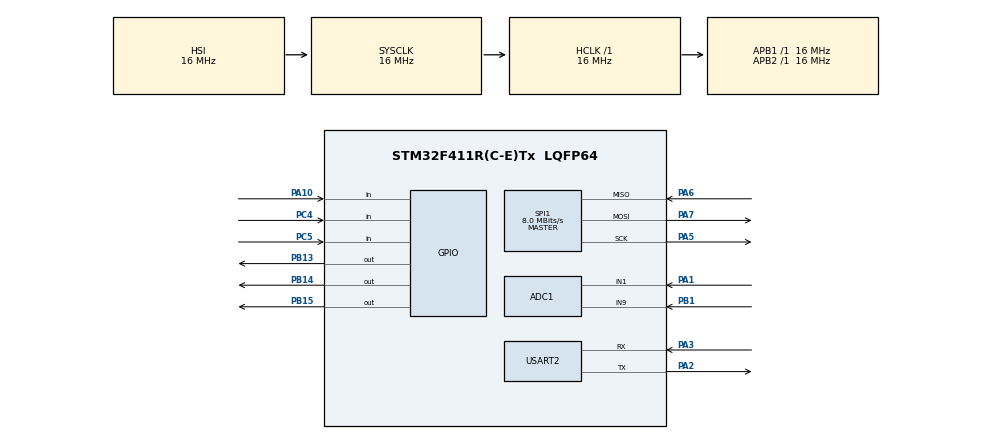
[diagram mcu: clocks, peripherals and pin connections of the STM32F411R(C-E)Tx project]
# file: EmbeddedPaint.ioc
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ADC1.Channel-0\#ChannelRegularConversion=ADC_CHANNEL_9
ADC1.NbrOfConversionFlag=1
ADC1.Rank-0\#ChannelRegularConversion=1
ADC1.SamplingTime-0\#ChannelRegularConversion=ADC_SAMPLETIME_3CYCLES
ADC1.master=1
Mcu.Family=STM32F4
Mcu.Name=STM32F411R(C-E)Tx
Mcu.Package=LQFP64
NVIC.PriorityGroup=NVIC_PRIORITYGROUP_4
PA1.Signal=ADCx_IN1
PA10.GPIO_PuPd=GPIO_PULLUP
PA10.Signal=GPIO_Input
PA2.Mode=Asynchronous
PA2.Signal=USART2_TX
PA3.Mode=Asynchronous
PA3.Signal=USART2_RX
PA5.Mode=Full_Duplex_Master
PA5.Signal=SPI1_SCK
PA6.Mode=Full_Duplex_Master
PA6.Signal=SPI1_MISO
PA7.Mode=Full_Duplex_Master
PA7.Signal=SPI1_MOSI
PB1.Signal=ADCx_IN9
PB13.Signal=GPIO_Output
PB14.Signal=GPIO_Output
PB15.Signal=GPIO_Output
PC4.GPIO_PuPd=GPIO_PULLUP
PC4.Signal=GPIO_Input
PC5.GPIO_PuPd=GPIO_PULLUP
PC5.Signal=GPIO_Input
ProjectManager.HeapSize=0x200
ProjectManager.StackSize=0x400
ProjectManager.TargetToolchain=STM32CubeIDE
RCC.AHBFreq_Value=16000000
RCC.APB1Freq_Value=16000000
RCC.APB2Freq_Value=16000000
RCC.CortexFreq_Value=16000000
RCC.HSE_VALUE=25000000
RCC.HSI_VALUE=16000000
RCC.LSE_VALUE=32768
RCC.SYSCLKFreq_VALUE=16000000
RCC.VCOOutputFreq_Value=192000000
SH.ADCx_IN1.0=ADC1_IN1,IN1
SH.ADCx_IN9.0=ADC1_IN9,IN9
SPI1.CalculateBaudRate=8.0 MBits/s
SPI1.Direction=SPI_DIRECTION_2LINES
SPI1.Mode=SPI_MODE_MASTER
SPI1.VirtualType=VM_MASTER
USART2.VirtualMode=VM_ASYNC
board=custom

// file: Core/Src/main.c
/* USER CODE BEGIN Header */
/**
  ******************************************************************************
  * @file           : main.c
  * @brief          : Full Optimized Paint/Color Wheel Program
  ******************************************************************************
  */
/* USER CODE END Header */
#include "main.h"
#include "main.h"
#include <stdio.h>
#include <stdlib.h>
#define LCD_WIDTH  128
#define LCD_HEIGHT 160
/* Private includes --

ADC_HandleTypeDef hadc1;

SPI_HandleTypeDef hspi1;

UART_HandleTypeDef huart2;

/* USER CODE BEGIN PV */
uint16_t current_x = 64, current_y = 80;
uint16_t old_x = 64, old_y = 80;

uint16_t paint_colors[] = {
    0xF800, // Red
    0x07E0, // Green
    0x001F, // Blue
    0xFFE0, // Yellow
    0xF81F, // Magenta
    0x07FF, // Cyan
};
uint8_t color_index = 0;

uint8_t num_colors = sizeof(paint_colors) / sizeof(paint_colors[0]);

uint16_t frame_buffer[LCD_WIDTH][LCD_HEIGHT];

int currentSize = 0;

/* USER CODE END PV */

void SystemClock_Config(void);
static void MX_GPIO_Init(void);
static void MX_USART2_UART_Init(void);
static void MX_SPI1_Init(void);
static void MX_ADC1_Init(void);
/* USER CODE BEGIN PFP */
void LCD_Init(void);
void LCD_color_choice(void);
void LCD_Fill(uint16_t color);
void LCD_CommandMode(uint8_t pin);
void LCD_DataMode(uint8_t data);
void Lcdopen(void);
void Lcdclose(void);
void LCD_courser(uint8_t x, uint8_t y, uint16_t color);
void paint(uint8_t y, uint8_t x, uint16_t color);
void saveColorToArray(uint8_t y, uint8_t x, uint16_t color);
uint16_t loadColorToArray(uint8_t y, uint8_t x);
uint16_t LCD_Restore_Area(uint8_t y, uint8_t x);
void frame_buffer_init(void);
void LCD_OnSetup_color_choice(void);
/* USER CODE END PFP */

int main(void)
{
  HAL_Init();
  SystemClock_Config();
  MX_GPIO_Init();
  MX_USART2_UART_Init();
  MX_SPI1_Init();
  MX_ADC1_Init(); // Make sure this is called!

  /* USER CODE BEGIN 2 */
  LCD_Init();
  LCD_Fill(0xFFFF);
  frame_buffer_init();
  LCD_OnSetup_color_choice();
  uint32_t x_raw = 2048;
  uint32_t y_raw = 2048;
  int old_x = 40;
  int old_y = 90;
  int x_center_offset = 2150;
   int y_center_offset = 1900;
   int deadzone =10;

  /* USER CODE END 2 */

  while (1)
  {

	      uint32_t x_sum = 0, y_sum = 0;
	      int samples = 8;

	      for(int i = 0; i < samples; i++) {
	          HAL_ADC_Start(&hadc1);
	          HAL_ADC_PollForConversion(&hadc1, 5);
	          x_sum += HAL_ADC_GetValue(&hadc1);
	          HAL_ADC_PollForConversion(&hadc1, 5);
	          y_sum += HAL_ADC_GetValue(&hadc1);
	      }

	      x_raw = x_sum / samples;
	      y_raw = y_sum / samples;

	      int x_relative = (int)x_raw - x_center_offset;
	      int y_relative = (int)y_raw - y_center_offset;

	      if (abs(x_relative) < deadzone) x_relative = 0;
	      if (abs(y_relative) < deadzone) y_relative = 0;

	      int new_x = 64 + (x_relative * 64) / 2048;
	      int new_y = 80 + (y_relative * 80) / 2048;

	      int threshold = 5;
	      if (abs(new_x - old_x) > threshold || abs(new_y - old_y) > threshold) {

	    	  if (HAL_GPIO_ReadPin(GPIOC, GPIO_PIN_5) == GPIO_PIN_SET) {

	    	      LCD_Restore_Area(old_x, old_y);
	    	      LCD_courser(new_x, new_y, 0);
	    	  } else {

	    	      LCD_Restore_Area(old_x, old_y);
	    	      paint(new_x, new_y, paint_colors[color_index]);
	    	      LCD_courser(new_x, new_y, 0);
	    	  }

	    	  old_x = new_x;
	    	  old_y = new_y;
	    	  }

	      if(HAL_GPIO_ReadPin(GPIOA, GPIO_PIN_10) == GPIO_PIN_RESET) {
	          color_index = 0;
	          LCD_Fill(0xFFFF);
	          frame_buffer_init();
	          LCD_OnSetup_color_choice();
	          HAL_Delay(300);
	      }

	           if(HAL_GPIO_ReadPin(GPIOC, GPIO_PIN_4) == GPIO_PIN_RESET) {
	               LCD_color_choice();
	               HAL_Delay(200);
	           }

      }

} // End of main()

void SystemClock_Config(void)
{
  RCC_OscInitTypeDef RCC_OscInitStruct = {0};
  RCC_ClkInitTypeDef RCC_ClkInitStruct = {0};

  /** Configure the main internal regulator output voltage
  */
  __HAL_RCC_PWR_CLK_ENABLE();
  __HAL_PWR_VOLTAGESCALING_CONFIG(PWR_REGULATOR_VOLTAGE_SCALE1);

  /** Initializes the RCC Oscillators according to the specified parameters
  * in the RCC_OscInitTypeDef structure.
  */
  RCC_OscInitStruct.OscillatorType = RCC_OSCILLATORTYPE_HSI;
  RCC_OscInitStruct.HSIState = RCC_HSI_ON;
  RCC_OscInitStruct.HSICalibrationValue = RCC_HSICALIBRATION_DEFAULT;
  RCC_OscInitStruct.PLL.PLLState = RCC_PLL_NONE;
  if (HAL_RCC_OscConfig(&RCC_OscInitStruct) != HAL_OK)
  {
    Error_Handler();
  }

  /** Initializes the CPU, AHB and APB buses clocks
  */
  RCC_ClkInitStruct.ClockType = RCC_CLOCKTYPE_HCLK|RCC_CLOCKTYPE_SYSCLK
                              |RCC_CLOCKTYPE_PCLK1|RCC_CLOCKTYPE_PCLK2;
  RCC_ClkInitStruct.SYSCLKSource = RCC_SYSCLKSOURCE_HSI;
  RCC_ClkInitStruct.AHBCLKDivider = RCC_SYSCLK_DIV1;
  RCC_ClkInitStruct.APB1CLKDivider = RCC_HCLK_DIV1;
  RCC_ClkInitStruct.APB2CLKDivider = RCC_HCLK_DIV1;

  if (HAL_RCC_ClockConfig(&RCC_ClkInitStruct, FLASH_LATENCY_0) != HAL_OK)
  {
    Error_Handler();
  }
}

static void MX_ADC1_Init(void)
{

  ADC_ChannelConfTypeDef sConfig = {0};

  /** Configure the global features of the ADC (Clock, Resolution, Data Alignment and number of conversion)
  */
  hadc1.Instance = ADC1;
  hadc1.Init.ClockPrescaler = ADC_CLOCK_SYNC_PCLK_DIV2;
  hadc1.Init.Resolution = ADC_RESOLUTION_12B;
  hadc1.Init.ScanConvMode = ENABLE;
  hadc1.Init.ContinuousConvMode = DISABLE;
  hadc1.Init.DiscontinuousConvMode = DISABLE;
  hadc1.Init.ExternalTrigConvEdge = ADC_EXTERNALTRIGCONVEDGE_NONE;
  hadc1.Init.ExternalTrigConv = ADC_SOFTWARE_START;
  hadc1.Init.DataAlign = ADC_DATAALIGN_RIGHT;
  hadc1.Init.NbrOfConversion = 2;
  hadc1.Init.DMAContinuousRequests = DISABLE;
  hadc1.Init.EOCSelection = ADC_EOC_SINGLE_CONV;
  if (HAL_ADC_Init(&hadc1) != HAL_OK)
  {
    Error_Handler();
  }

  /** Configure for the selected ADC regular channel its corresponding rank in the sequencer and its sample time.
  */

    /** Configure for the first channel (X-axis on PA1)
    */
    sConfig.Channel = ADC_CHANNEL_1;
    sConfig.Rank = 1;
    sConfig.SamplingTime = ADC_SAMPLETIME_144CYCLES;
    if (HAL_ADC_ConfigChannel(&hadc1, &sConfig) != HAL_OK)
    {
      Error_Handler();
    }

    /** Configure for the second channel (Y-axis on PB1)
    */
    sConfig.Channel = ADC_CHANNEL_9;
    sConfig.Rank = 2;
    sConfig.SamplingTime = ADC_SAMPLETIME_144CYCLES;
    if (HAL_ADC_ConfigChannel(&hadc1, &sConfig) != HAL_OK)
    {
      Error_Handler();
    }

}

static void MX_SPI1_Init(void)
{

  /* SPI1 parameter configuration*/
  hspi1.Instance = SPI1;
  hspi1.Init.Mode = SPI_MODE_MASTER;
  hspi1.Init.Direction = SPI_DIRECTION_2LINES;
  hspi1.Init.DataSize = SPI_DATASIZE_8BIT;
  hspi1.Init.CLKPolarity = SPI_POLARITY_LOW;
  hspi1.Init.CLKPhase = SPI_PHASE_1EDGE;
  hspi1.Init.NSS = SPI_NSS_SOFT;
  hspi1.Init.BaudRatePrescaler = SPI_BAUDRATEPRESCALER_2;
  hspi1.Init.FirstBit = SPI_FIRSTBIT_MSB;
  hspi1.Init.TIMode = SPI_TIMODE_DISABLE;
  hspi1.Init.CRCCalculation = SPI_CRCCALCULATION_DISABLE;
  hspi1.Init.CRCPolynomial = 10;
  if (HAL_SPI_Init(&hspi1) != HAL_OK)
  {
    Error_Handler();
  }

}

static void MX_USART2_UART_Init(void)
{

  huart2.Instance = USART2;
  huart2.Init.BaudRate = 115200;
  huart2.Init.WordLength = UART_WORDLENGTH_8B;
  huart2.Init.StopBits = UART_STOPBITS_1;
  huart2.Init.Parity = UART_PARITY_NONE;
  huart2.Init.Mode = UART_MODE_TX_RX;
  huart2.Init.HwFlowCtl = UART_HWCONTROL_NONE;
  huart2.Init.OverSampling = UART_OVERSAMPLING_16;
  if (HAL_UART_Init(&huart2) != HAL_OK)
  {
    Error_Handler();
  }

}

static void MX_GPIO_Init(void)
{
  GPIO_InitTypeDef GPIO_InitStruct = {0};

  /* GPIO Ports Clock Enable */
  __HAL_RCC_GPIOA_CLK_ENABLE();
  __HAL_RCC_GPIOC_CLK_ENABLE();
  __HAL_RCC_GPIOB_CLK_ENABLE();

  /*Configure GPIO pin Output Level */
  HAL_GPIO_WritePin(GPIOB, GPIO_PIN_13|GPIO_PIN_14|GPIO_PIN_15, GPIO_PIN_RESET);

  /*Configure GPIO pins : PC4 PC5 */
  GPIO_InitStruct.Pin = GPIO_PIN_4|GPIO_PIN_5;
  GPIO_InitStruct.Mode = GPIO_MODE_INPUT;
  GPIO_InitStruct.Pull = GPIO_PULLUP;
  HAL_GPIO_Init(GPIOC, &GPIO_InitStruct);

  /*Configure GPIO pins : PB13 PB14 PB15 */
  GPIO_InitStruct.Pin = GPIO_PIN_13|GPIO_PIN_14|GPIO_PIN_15;
  GPIO_InitStruct.Mode = GPIO_MODE_OUTPUT_PP;
  GPIO_InitStruct.Pull = GPIO_NOPULL;
  GPIO_InitStruct.Speed = GPIO_SPEED_FREQ_LOW;
  HAL_GPIO_Init(GPIOB, &GPIO_InitStruct);

  /*Configure GPIO pin : PA10 */
  GPIO_InitStruct.Pin = GPIO_PIN_10;
  GPIO_InitStruct.Mode = GPIO_MODE_INPUT;
  GPIO_InitStruct.Pull = GPIO_PULLUP;
  HAL_GPIO_Init(GPIOA, &GPIO_InitStruct);

}

/* USER CODE BEGIN 4 */

#ifdef __GNUC__
  /* With GCC, small printf (option LD Linker->Libraries->Small printf
     set to 'Yes') calls __io_putchar() */
  #define PUTCHAR_PROTOTYPE int __io_putchar(int ch)
#else
  #define PUTCHAR_PROTOTYPE int fputc(int ch, FILE *f)
#endif /* __GNUC__ */

/**
  * @brief  Retargets the C library printf function to the USART.
  */
PUTCHAR_PROTOTYPE
{
  /* Place your implementation of fputc here */
  /* e.g. write a character to the USART2 and Loop until the end of transmission */
  HAL_UART_Transmit(&huart2, (uint8_t *)&ch, 1, 0xFFFF);

  return ch;
}

// Also add this for newer GCC versions to handle the full write stream
int _write(int file, char *ptr, int len)
{
  HAL_UART_Transmit(&huart2, (uint8_t *)ptr, len, 0xFFFF);
  return len;
}

void LCD_Init(void) {//GEMINI
    HAL_GPIO_WritePin(GPIOB, GPIO_PIN_15, GPIO_PIN_RESET);
    HAL_Delay(50);
    HAL_GPIO_WritePin(GPIOB, GPIO_PIN_15, GPIO_PIN_SET);
    HAL_Delay(150);

    LCD_CommandMode(0x01); // Reset
    HAL_Delay(150);
    LCD_CommandMode(0x11); // Wake
    HAL_Delay(200);
    LCD_CommandMode(0x3A); // Color mode
    LCD_DataMode(0x05);    // 16-bit
    LCD_CommandMode(0x21);

    LCD_CommandMode(0x29); // On
    HAL_Delay(100);
}
//open or close communiction
void LcdOpen(void){
	HAL_GPIO_WritePin(GPIOB, GPIO_PIN_14, GPIO_PIN_RESET);
}
void Lcdclose(void){
	HAL_GPIO_WritePin(GPIOB, GPIO_PIN_14, GPIO_PIN_SET);
}
// type of Instruction or data
void LCD_CommandMode(uint8_t data) {
    HAL_GPIO_WritePin(GPIOB, GPIO_PIN_13, GPIO_PIN_RESET);// command
    LcdOpen();
    HAL_SPI_Transmit(&hspi1, &data, 1, HAL_MAX_DELAY);
    Lcdclose();
}

void LCD_DataMode(uint8_t pin) {
   HAL_GPIO_WritePin(GPIOB, GPIO_PIN_13, GPIO_PIN_SET);//color
   LcdOpen();
   HAL_SPI_Transmit(&hspi1, &pin, 1, HAL_MAX_DELAY);
   Lcdclose();
}

void LCD_Fill(uint16_t color) {

    LCD_CommandMode(0x2A);
    LCD_DataMode(0x00); LCD_DataMode(0x00); LCD_DataMode(0x00); LCD_DataMode(0x7F);
    LCD_CommandMode(0x2B);
    LCD_DataMode(0x00); LCD_DataMode(0x00); LCD_DataMode(0x00); LCD_DataMode(0x9F);
    LCD_CommandMode(0x2C);

    uint8_t data[] = {color >> 8, color & 0xFF};
    HAL_GPIO_WritePin(GPIOB, GPIO_PIN_13, GPIO_PIN_SET);
    LcdOpen();
    for (uint32_t i = 0; i < (LCD_WIDTH * LCD_HEIGHT); i++) {
        HAL_SPI_Transmit(&hspi1, data, 2, HAL_MAX_DELAY);
    }
    Lcdclose();
}

void LCD_color_choice(void){

	    color_index++;
	    if (color_index >= num_colors) {
	        color_index = 0;
	    }

	    LCD_OnSetup_color_choice();

}

void LCD_OnSetup_color_choice(void){

	uint16_t color = paint_colors[color_index];
	    uint8_t data[] = {color >> 8, color & 0xFF};

	    uint16_t x_start = 80;
	    uint16_t x_end   = 95;
	    uint16_t y_start = 10;
	    uint16_t y_end   = 25;

	    LCD_CommandMode(0x2A);
	    LCD_DataMode(x_start >> 8);
	    LCD_DataMode(x_start & 0xFF);
	    LCD_DataMode(x_end >> 8);
	    LCD_DataMode(x_end & 0xFF);

	    LCD_CommandMode(0x2B);
	    LCD_DataMode(y_start >> 8);
	    LCD_DataMode(y_start & 0xFF);
	    LCD_DataMode(y_end >> 8);
	    LCD_DataMode(y_end & 0xFF);

	    LCD_CommandMode(0x2C);

	    HAL_GPIO_WritePin(GPIOB, GPIO_PIN_13, GPIO_PIN_SET);
	    LcdOpen();

	    for(uint32_t i = 0; i < (20 * 20); i++) {
	        HAL_SPI_Transmit(&hspi1, data, 2, HAL_MAX_DELAY);
	    }

	    Lcdclose();

}
void LCD_courser(uint8_t x, uint8_t y, uint16_t color) {
    uint16_t size = 10;

    if (x + 10 > 80 && x < 95 && y + 10 > 10 && y < 30) {
            return;
        }

    uint16_t black = 0x0000;
        uint8_t data[] = { (uint8_t)(black >> 8), (uint8_t)(black & 0xFF) };
    uint16_t x_end = x + size - 1;
    uint16_t y_end = y + size - 1;

    // Set Column Address
    LCD_CommandMode(0x2A);
    LCD_DataMode(0x00); LCD_DataMode(x);
    LCD_DataMode(0x00); LCD_DataMode(x_end);

    // Set Row Address
    LCD_CommandMode(0x2B);
    LCD_DataMode(0x00); LCD_DataMode(y);
    LCD_DataMode(0x00); LCD_DataMode(y_end);

    LCD_CommandMode(0x2C); // RAM Write

    HAL_GPIO_WritePin(GPIOB, GPIO_PIN_13, GPIO_PIN_SET);
    LcdOpen();
    for(int i = 0; i < (size * size); i++) {
        HAL_SPI_Transmit(&hspi1, data, 2, HAL_MAX_DELAY);
    }
    Lcdclose();
}

void paint(uint8_t x, uint8_t y, uint16_t color){

	saveColorToArray(x, y, color);
}

void saveColorToArray(uint8_t x, uint8_t y, uint16_t color) {
    for (int dx = 0; dx < 10; dx++)
        for (int dy = 0; dy < 10; dy++)
            if ((x + dx) < LCD_WIDTH && (y + dy) < LCD_HEIGHT)
                frame_buffer[x + dx][y + dy] = color;
}

void frame_buffer_init(void) {
    for (int i = 0; i < LCD_WIDTH; i++)
        for (int j = 0; j < LCD_HEIGHT; j++)
            frame_buffer[i][j] = 0xFFFF;
}

uint16_t LCD_Restore_Area(uint8_t x, uint8_t y) {
	if (x + 10 > 80 && x < 95 && y + 10 > 10 && y < 30) {
	            return 0;
	        }

    for (int dx = 0; dx < 10; dx++) {
        for (int dy = 0; dy < 10; dy++) {
            uint8_t px = x + dx;
            uint8_t py = y + dy;
            if (px < LCD_WIDTH && py < LCD_HEIGHT) {
                uint16_t color = frame_buffer[px][py];

                LCD_CommandMode(0x2A);
                LCD_DataMode(0x00); LCD_DataMode(px);
                LCD_DataMode(0x00); LCD_DataMode(px);
                LCD_CommandMode(0x2B);
                LCD_DataMode(0x00); LCD_DataMode(py);
                LCD_DataMode(0x00); LCD_DataMode(py);
                LCD_CommandMode(0x2C);
                HAL_GPIO_WritePin(GPIOB, GPIO_PIN_13, GPIO_PIN_SET);
                LcdOpen();
                uint8_t data[] = {color >> 8, color & 0xFF};
                HAL_SPI_Transmit(&hspi1, data, 2, HAL_MAX_DELAY);
                Lcdclose();
            }
        }
    }
    return 0;
}

/* USER CODE END 4 */

void Error_Handler(void)
{
  __disable_irq();
  while (1)
  {
  }
}
